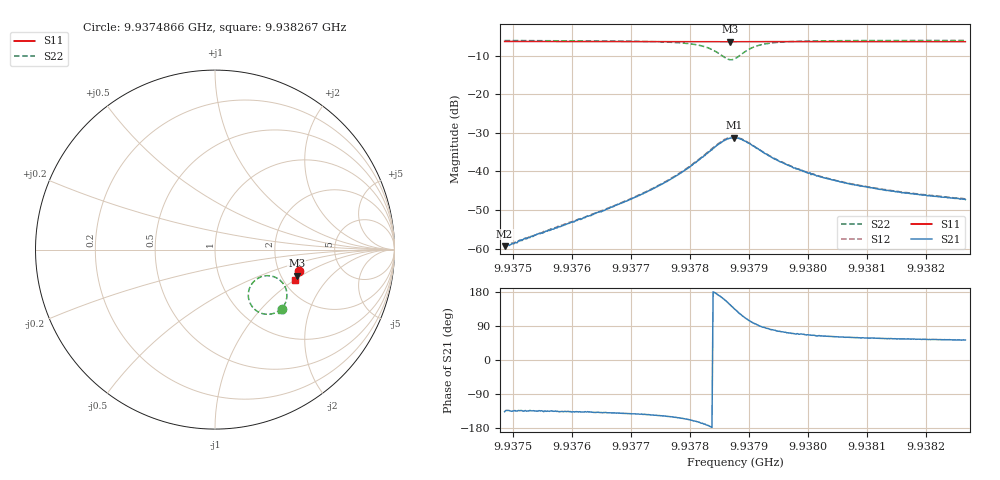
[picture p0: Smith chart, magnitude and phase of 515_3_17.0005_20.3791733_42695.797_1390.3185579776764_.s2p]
#  HZ  S  RI  R  50.00
! Rohde & Schwarz Vector Network Analyzer
! Rohde-Schwarz,ZNB20-2Port,1311601062101988,3.16
! Created: UTC 3/20/2024, 11:15:10 PM
! freq[Hz]  re:S11  im:S11  re:S21  im:S21  re:S12  im:S12  re:S22  im:S22
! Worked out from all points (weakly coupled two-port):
!   401 points, 9.9374866 GHz to 9.938267 GHz, reference 50 ohm
!   highest |S21| = -31.27 dB at 9.9378748 GHz (marker M1); lowest = -59.3 dB at 9.9374866 GHz (marker M2)
!   lowest |S11| = -6.4 dB at 9.937869 GHz (marker M3), VSWR 2.83, Z = 122 - j45.5 ohm
!   |S11| at or under -10 dB: nowhere
!   |S22| runs from -11.1 to -6.1 dB; largest |S21 - S12| = 0.0012
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9.93748656e9  0.4675 -0.1206  -0.000786 -0.00075  -0.00076 -0.000785  0.3714 -0.3295
9.93749827e9  0.4672 -0.1215  -0.000819 -0.000808  -0.000846 -0.000825  0.3705 -0.3306
9.93761728e9  0.4645 -0.1294  -0.00179 -0.00164  -0.00188 -0.00165  0.3557 -0.3414
9.93769727e9  0.4625 -0.1349  -0.00337 -0.00267  -0.00344 -0.00265  0.338 -0.3509
9.937748e9  0.461 -0.1383  -0.00547 -0.00362  -0.00562 -0.00358  0.3175 -0.3579
9.93779092e9  0.4596 -0.1414  -0.00929 -0.00431  -0.00954 -0.00424  0.284 -0.3604
9.93782604e9  0.4578 -0.1437  -0.0159 -0.00302  -0.0164 -0.00266  0.2307 -0.3404
9.9378397e9  0.4572 -0.1441  -0.02 2.2e-05  -0.0203 0.000387  0.2039 -0.3129
9.93785335e9  0.4562 -0.1445  -0.023 0.00565  -0.0234 0.00644  0.1859 -0.2624
9.93786311e9  0.4557 -0.1444  -0.0235 0.0116  -0.0236 0.0127  0.1926 -0.2149
9.93786896e9  0.4557 -0.1443  -0.0222 0.0155  -0.0222 0.0164  0.2085 -0.1869
9.93787481e9  0.4558 -0.1442  -0.0197 0.0189  -0.0197 0.0198  0.2319 -0.1646
9.93787677e9  0.4559 -0.1442  -0.0188 0.0197  -0.0185 0.0208  0.2411 -0.1588
9.93788652e9  0.4562 -0.1443  -0.0133 0.0227  -0.0127 0.0234  0.2903 -0.1453
9.93790018e9  0.4567 -0.1451  -0.00575 0.0226  -0.00521 0.0228  0.3466 -0.1597
9.93792164e9  0.4571 -0.1468  0.00066 0.0182  0.00101 0.0184  0.3886 -0.2033
9.9379509e9  0.4567 -0.1493  0.00335 0.0132  0.00372 0.0134  0.4007 -0.2476
9.93797822e9  0.4563 -0.1514  0.00402 0.0104  0.00412 0.0105  0.3993 -0.2725
9.93800748e9  0.4554 -0.1534  0.00388 0.00839  0.00421 0.00833  0.395 -0.2892
9.93806992e9  0.4539 -0.1576  0.00348 0.00602  0.00365 0.00599  0.3858 -0.3099
9.9381382e9  0.452 -0.1623  0.00312 0.00468  0.00324 0.00468  0.3776 -0.3228
9.93826697e9  0.4483 -0.1706  0.00262 0.00344  0.00274 0.00347  0.3655 -0.3372
